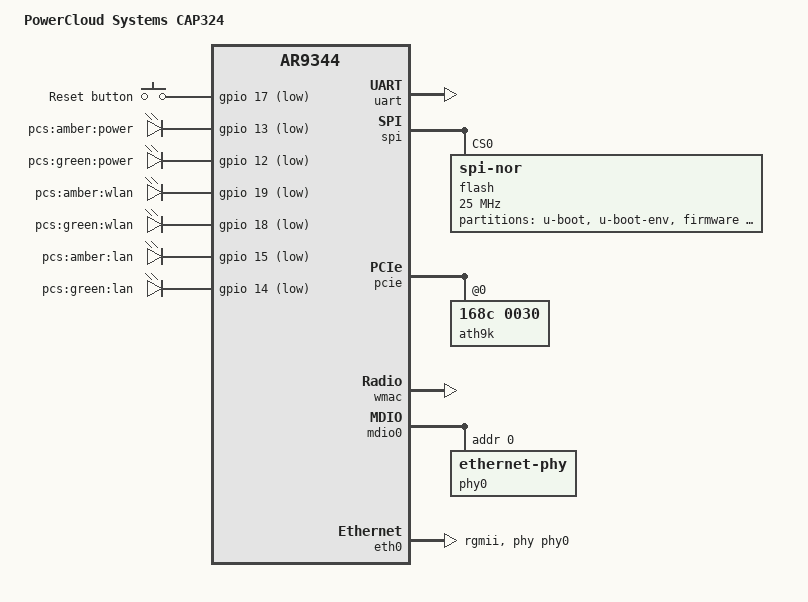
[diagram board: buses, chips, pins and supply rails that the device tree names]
// SPDX-License-Identifier: GPL-2.0-or-later OR MIT

#include "ar9344.dtsi"

#include <dt-bindings/gpio/gpio.h>
#include <dt-bindings/input/input.h>

/ {
	model = "PowerCloud Systems CAP324";
	compatible = "pcs,cap324", "qca,ar9344";

	aliases {
		serial0 = &uart;
		led-boot = &led_power_amber;
		led-failsafe = &led_power_amber;
		led-running = &led_power_green;
		led-upgrade = &led_power_amber;
	};

	keys {
		compatible = "gpio-keys";

		pinctrl-names = "default";
		pinctrl-0 = <&jtag_disable_pins>;

		reset {
			label = "Reset button";
			linux,code = <KEY_RESTART>;
			gpios = <&gpio 17 GPIO_ACTIVE_LOW>;
			debounce-interval = <60>;
		};
	};

	leds {
		compatible = "gpio-leds";

		led_power_amber: power_amber {
			label = "pcs:amber:power";
			gpios = <&gpio 13 GPIO_ACTIVE_LOW>;
		};

		led_power_green: power_green {
			label = "pcs:green:power";
			gpios = <&gpio 12 GPIO_ACTIVE_LOW>;
			default-state = "on";
		};

		wlan_amber {
			label = "pcs:amber:wlan";
			gpios = <&gpio 19 GPIO_ACTIVE_LOW>;
			linux,default-trigger = "phy1tpt";
		};

		wlan_green {
			label = "pcs:green:wlan";
			gpios = <&gpio 18 GPIO_ACTIVE_LOW>;
			linux,default-trigger = "phy0tpt";
		};

		lan_amber {
			label = "pcs:amber:lan";
			gpios = <&gpio 15 GPIO_ACTIVE_LOW>;
		};

		lan_green {
			label = "pcs:green:lan";
			gpios = <&gpio 14 GPIO_ACTIVE_LOW>;
		};
	};
};

&ref {
	clock-frequency = <25000000>;
};

&uart {
	status = "okay";
};

&spi {
	status = "okay";

	num-cs = <1>;

	flash@0 {
		compatible = "jedec,spi-nor";
		reg = <0>;
		spi-max-frequency = <25000000>;

		partitions {
			compatible = "fixed-partitions";
			#address-cells = <1>;
			#size-cells = <1>;

			uboot: partition@0 {
				label = "u-boot";
				reg = <0x000000 0x040000>;
				read-only;
			};

			partition@40000 {
				label = "u-boot-env";
				reg = <0x040000 0x010000>;
				read-only;
			};

			partition@50000 {
				compatible = "denx,uimage";
				label = "firmware";
				reg = <0x050000 0x0fa0000>;
			};

			art: partition@7f0000 {
				label = "art";
				reg = <0xff0000 0x010000>;
				read-only;
			};
		};
	};
};

&pcie {
	status = "okay";

	ath9k: wifi@0,0 {
		compatible = "168c,0030";
		reg = <0x0000 0 0 0 0>;
		mtd-mac-address = <&art 0x0>;
		mtd-mac-address-increment = <(-2)>;
		mtd-cal-data = <&art 0x5000>;
		qca,no-eeprom;
		qca,disable-5ghz;
		#gpio-cells = <2>;
		gpio-controller;
	};
};

&wmac {
	status = "okay";

	qca,disable-2ghz;
	mtd-cal-data = <&art 0x1000>;
	mtd-mac-address = <&art 0x0>;
	mtd-mac-address-increment = <(-1)>;
};

&mdio0 {
	status = "okay";

	phy-mask = <0>;

	phy0: ethernet-phy@0 {
		reg = <0>;
		phy-mode = "rgmii";
	};
};

&eth0 {
	status = "okay";

	/* default for ar934x, except for 1000M */
	pll-data = <0x06000000 0x00000101 0x00001616>;

	mtd-mac-address = <&art 0x0>;

	phy-mode = "rgmii";
	phy-handle = <&phy0>;
};
